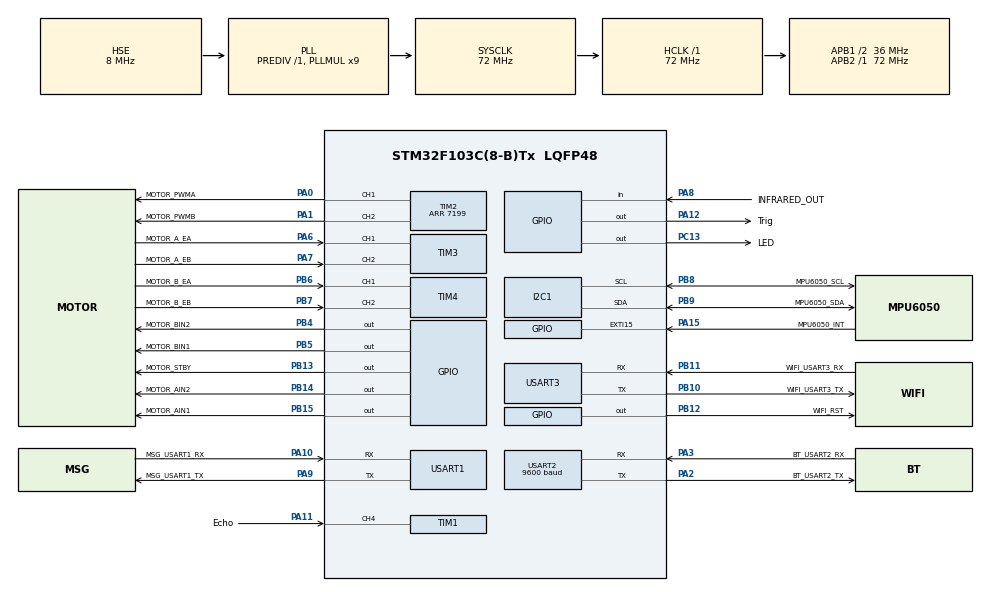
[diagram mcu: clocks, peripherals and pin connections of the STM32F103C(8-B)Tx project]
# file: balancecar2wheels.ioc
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I2C1.I2C_Mode=I2C_Fast
Mcu.Family=STM32F1
Mcu.Name=STM32F103C(8-B)Tx
Mcu.Package=LQFP48
NVIC.EXTI15_10_IRQn=true\:2\:0\:true\:false\:true\:true\:true
NVIC.I2C1_ER_IRQn=true\:0\:0\:false\:false\:true\:true\:true
NVIC.I2C1_EV_IRQn=true\:0\:0\:false\:false\:true\:true\:true
NVIC.PriorityGroup=NVIC_PRIORITYGROUP_4
NVIC.TIM1_UP_IRQn=true\:1\:0\:true\:false\:true\:true\:true
NVIC.TIM2_IRQn=true\:0\:0\:false\:false\:true\:true\:true
NVIC.TIM3_IRQn=true\:0\:0\:false\:false\:true\:true\:true
NVIC.TIM4_IRQn=true\:0\:0\:false\:false\:true\:true\:true
NVIC.USART1_IRQn=true\:0\:0\:true\:false\:true\:true\:true
NVIC.USART2_IRQn=true\:0\:0\:false\:false\:true\:true\:true
NVIC.USART3_IRQn=true\:0\:0\:false\:false\:true\:true\:true
PA0-WKUP.GPIO_Label=MOTOR_PWMA
PA0-WKUP.Signal=S_TIM2_CH1_ETR
PA1.GPIO_Label=MOTOR_PWMB
PA1.Signal=S_TIM2_CH2
PA10.GPIO_Label=MSG_USART1_RX
PA10.Mode=Asynchronous
PA10.Signal=USART1_RX
PA11.GPIO_Label=Echo
PA11.Signal=S_TIM1_CH4
PA12.GPIO_Label=Trig
PA12.Signal=GPIO_Output
PA13.Mode=Serial_Wire
PA13.Signal=SYS_JTMS-SWDIO
PA14.Mode=Serial_Wire
PA14.Signal=SYS_JTCK-SWCLK
PA15.GPIO_Label=MPU6050_INT
PA15.GPIO_PuPd=GPIO_PULLDOWN
PA15.Signal=GPXTI15
PA2.GPIO_Label=BT_USART2_TX
PA2.Mode=Asynchronous
PA2.Signal=USART2_TX
PA3.GPIO_Label=BT_USART2_RX
PA3.Mode=Asynchronous
PA3.Signal=USART2_RX
PA6.GPIO_Label=MOTOR_A_EA
PA6.Signal=S_TIM3_CH1
PA7.GPIO_Label=MOTOR_A_EB
PA7.Signal=S_TIM3_CH2
PA8.GPIO_Label=INFRARED_OUT
PA8.Signal=GPIO_Input
PA9.GPIO_Label=MSG_USART1_TX
PA9.Mode=Asynchronous
PA9.Signal=USART1_TX
PB10.GPIO_Label=WIFI_USART3_TX
PB10.Mode=Asynchronous
PB10.Signal=USART3_TX
PB11.GPIO_Label=WIFI_USART3_RX
PB11.Mode=Asynchronous
PB11.Signal=USART3_RX
PB12.GPIO_Label=WIFI_RST
PB12.Signal=GPIO_Output
PB13.GPIO_Label=MOTOR_STBY
PB13.Signal=GPIO_Output
PB14.GPIO_Label=MOTOR_AIN2
PB14.Signal=GPIO_Output
PB15.GPIO_Label=MOTOR_AIN1
PB15.Signal=GPIO_Output
PB4.GPIO_Label=MOTOR_BIN2
PB4.Signal=GPIO_Output
PB5.GPIO_Label=MOTOR_BIN1
PB5.Signal=GPIO_Output
PB6.GPIO_Label=MOTOR_B_EA
PB6.Signal=S_TIM4_CH1
PB7.GPIO_Label=MOTOR_B_EB
PB7.Signal=S_TIM4_CH2
PB8.GPIO_Label=MPU6050_SCL
PB8.Mode=I2C
PB8.Signal=I2C1_SCL
PB9.GPIO_Label=MPU6050_SDA
PB9.Mode=I2C
PB9.Signal=I2C1_SDA
PC13-TAMPER-RTC.GPIO_Label=LED
PC13-TAMPER-RTC.Signal=GPIO_Output
PC14-OSC32_IN.Mode=LSE-External-Oscillator
PC14-OSC32_IN.Signal=RCC_OSC32_IN
PC15-OSC32_OUT.Mode=LSE-External-Oscillator
PC15-OSC32_OUT.Signal=RCC_OSC32_OUT
PD0-OSC_IN.Mode=HSE-External-Oscillator
PD0-OSC_IN.Signal=RCC_OSC_IN
PD1-OSC_OUT.Mode=HSE-External-Oscillator
PD1-OSC_OUT.Signal=RCC_OSC_OUT
ProjectManager.HeapSize=0x200
ProjectManager.StackSize=0x400
ProjectManager.TargetToolchain=MDK-ARM V5.27
RCC.AHBFreq_Value=72000000
RCC.APB1CLKDivider=RCC_HCLK_DIV2
RCC.APB1Freq_Value=36000000
RCC.APB1TimFreq_Value=72000000
RCC.APB2Freq_Value=72000000
RCC.APB2TimFreq_Value=72000000
RCC.HCLKFreq_Value=72000000
RCC.PLLMUL=RCC_PLL_MUL9
RCC.PLLSourceVirtual=RCC_PLLSOURCE_HSE
RCC.SYSCLKFreq_VALUE=72000000
RCC.SYSCLKSource=RCC_SYSCLKSOURCE_PLLCLK
RCC.USBFreq_Value=72000000
SH.S_TIM1_CH4.0=TIM1_CH4,Input_Capture4_from_TI4
SH.S_TIM2_CH1_ETR.0=TIM2_CH1,PWM Generation1 CH1
SH.S_TIM2_CH2.0=TIM2_CH2,PWM Generation2 CH2
SH.S_TIM3_CH1.0=TIM3_CH1,Encoder_Interface
SH.S_TIM3_CH2.0=TIM3_CH2,Encoder_Interface
SH.S_TIM4_CH1.0=TIM4_CH1,Encoder_Interface
SH.S_TIM4_CH2.0=TIM4_CH2,Encoder_Interface
TIM1.Channel-Input_Capture4_from_TI4=TIM_CHANNEL_4
TIM1.Period=3599
TIM1.Prescaler=99
TIM2.Channel-PWM\ Generation1\ CH1=TIM_CHANNEL_1
TIM2.Channel-PWM\ Generation2\ CH2=TIM_CHANNEL_2
TIM2.OC2Preload_PWM=DISABLE
TIM2.OCFastMode_PWM-PWM\ Generation1\ CH1=TIM_OCFAST_ENABLE
TIM2.OCFastMode_PWM-PWM\ Generation2\ CH2=TIM_OCFAST_ENABLE
TIM2.Period=7199
TIM2.Pulse-PWM\ Generation1\ CH1=3600
TIM2.Pulse-PWM\ Generation2\ CH2=3600
TIM3.ClockDivision=TIM_CLOCKDIVISION_DIV1
TIM3.EncoderMode=TIM_ENCODERMODE_TI12
TIM3.IC1Filter=0
TIM3.IC1Prescaler=TIM_ICPSC_DIV1
TIM3.IC2Filter=0
TIM3.IC2Prescaler=TIM_ICPSC_DIV1
TIM4.ClockDivision=TIM_CLOCKDIVISION_DIV1
TIM4.EncoderMode=TIM_ENCODERMODE_TI12
TIM4.IC1Filter=0
TIM4.IC1Prescaler=TIM_ICPSC_DIV1
TIM4.IC2Filter=0
TIM4.IC2Prescaler=TIM_ICPSC_DIV1
USART1.VirtualMode=VM_ASYNC
USART2.BaudRate=9600
USART2.VirtualMode=VM_ASYNC
USART3.VirtualMode=VM_ASYNC
board=custom

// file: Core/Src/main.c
/* USER CODE BEGIN Header */
/**
  ******************************************************************************
  * @file           : main.c
  * @brief          : Main program body
  ******************************************************************************
  * @attention
  *
  * <h2><center>&copy; Copyright (c) 2023 STMicroelectronics.
  * All rights reserved.</center></h2>
  *
  * This software component is licensed by ST under BSD 3-Clause license,
  * the "License"; You may not use this file except in compliance with the
  * License. You may obtain a copy of the License at:
  *                        opensource.org/licenses/BSD-3-Clause
  *
  ******************************************************************************
  */
/* USER CODE END Header */
#include "main.h"
#include "i2c.h"
#include "tim.h"
#include "usart.h"
#include "gpio.h"

/* USER CODE BEGIN Includes */
#include "stdio.h"
#include "IIC.h"
#include "car_mpu6050.h"

#include "motor.h"
#include "motor_encoder.h"
#include "control.h"

#include "bluetooth.h"
/* USER CODE END Includes */

/* USER CODE BEGIN PV */
uint8_t MPU6050_Update_Flag;
int MOTOR_ENCODER_A,MOTOR_ENCODER_B;
int Balance_Pwm,Velocity_Pwm,Turn_Pwm;

uint8_t mpu_init_flag = -1;

uint8_t rx_data = 0;
/* USER CODE END PV */

void SystemClock_Config(void);

int main(void)
{

  /* MCU Configuration--------------------------------------------------------*/

  /* Reset of all peripherals, Initializes the Flash interface and the Systick. */
  HAL_Init();

  /* Configure the system clock */
  SystemClock_Config();

  /* Initialize all configured peripherals */
  MX_GPIO_Init();
  MX_I2C1_Init();
  MX_TIM1_Init();
  MX_TIM2_Init();
  MX_TIM4_Init();
  MX_USART1_UART_Init();
  MX_USART2_UART_Init();
  MX_USART3_UART_Init();
  MX_TIM3_Init();
  /* USER CODE BEGIN 2 */
	HAL_TIM_Base_Start_IT(&htim1);
	HAL_TIM_Base_Start_IT(&htim2);
	HAL_TIM_Encoder_Start(&htim3,TIM_CHANNEL_1 | TIM_CHANNEL_2);
	HAL_TIM_Encoder_Start(&htim4,TIM_CHANNEL_1 | TIM_CHANNEL_2);

	HAL_UART_Receive_IT(&HUART_BLUETOOTH, &rx_data, 1);

	motor_init();
	mpu_init_flag = mpu6050_init();
	if(mpu_init_flag == 0){
		printf("mpu init success.\r\n");
	}else{
		printf("mpu init fail.\r\n");
	}

	float forward_angle = -1;
	short forward_gyr = -1;

  /* USER CODE END 2 */

  /* Infinite loop */
  while (1)
  {

    /* USER CODE BEGIN 3 */
		HAL_Delay(100);

  }
  /* USER CODE END 3 */
}

void SystemClock_Config(void)
{
  RCC_OscInitTypeDef RCC_OscInitStruct = {0};
  RCC_ClkInitTypeDef RCC_ClkInitStruct = {0};

  /** Initializes the RCC Oscillators according to the specified parameters
  * in the RCC_OscInitTypeDef structure.
  */
  RCC_OscInitStruct.OscillatorType = RCC_OSCILLATORTYPE_HSE;
  RCC_OscInitStruct.HSEState = RCC_HSE_ON;
  RCC_OscInitStruct.HSEPredivValue = RCC_HSE_PREDIV_DIV1;
  RCC_OscInitStruct.HSIState = RCC_HSI_ON;
  RCC_OscInitStruct.PLL.PLLState = RCC_PLL_ON;
  RCC_OscInitStruct.PLL.PLLSource = RCC_PLLSOURCE_HSE;
  RCC_OscInitStruct.PLL.PLLMUL = RCC_PLL_MUL9;
  if (HAL_RCC_OscConfig(&RCC_OscInitStruct) != HAL_OK)
  {
    Error_Handler();
  }
  /** Initializes the CPU, AHB and APB buses clocks
  */
  RCC_ClkInitStruct.ClockType = RCC_CLOCKTYPE_HCLK|RCC_CLOCKTYPE_SYSCLK
                              |RCC_CLOCKTYPE_PCLK1|RCC_CLOCKTYPE_PCLK2;
  RCC_ClkInitStruct.SYSCLKSource = RCC_SYSCLKSOURCE_PLLCLK;
  RCC_ClkInitStruct.AHBCLKDivider = RCC_SYSCLK_DIV1;
  RCC_ClkInitStruct.APB1CLKDivider = RCC_HCLK_DIV2;
  RCC_ClkInitStruct.APB2CLKDivider = RCC_HCLK_DIV1;

  if (HAL_RCC_ClockConfig(&RCC_ClkInitStruct, FLASH_LATENCY_2) != HAL_OK)
  {
    Error_Handler();
  }
}

/* USER CODE BEGIN 4 */
void HAL_TIM_PeriodElapsedCallback(TIM_HandleTypeDef *htim) {
  if (htim->Instance == TIM1) {
		if(mpu_init_flag == HAL_OK){
			control_pwm();
		}
  }
}

void HAL_UART_RxCpltCallback(UART_HandleTypeDef *huart)  {

	 if (huart->Instance == USART2)  // 当前接收中断UART2
    {
			//printf("%c\r\n",rx_data);
			bluetooth_fm_buf_it(&rx_data);

    }
}

/* USER CODE END 4 */

void Error_Handler(void)
{
  __disable_irq();
  while (1)
  {
  }
}

/************************ (C) COPYRIGHT STMicroelectronics *****END OF FILE****/
